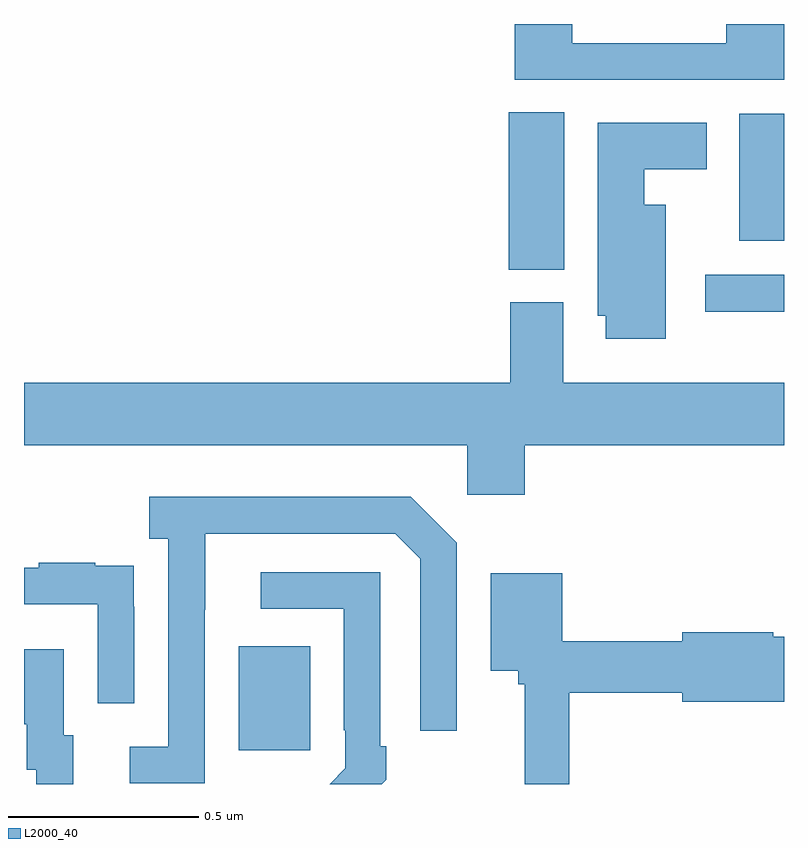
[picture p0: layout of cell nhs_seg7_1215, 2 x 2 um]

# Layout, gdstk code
import gdstk
lib = gdstk.Library(unit=1e-6, precision=1e-09)
def R(c, l, rs):  # rectangles x0, y0, x1, y1
    for r in rs: c.add(gdstk.rectangle(r[:2], r[2:], *l))
def P(c, l, *ps):  # polygons
    for p in ps: c.add(gdstk.Polygon(p, *l))
L2000_40 = (2000, 40)

nhs_seg7_1215 = lib.new_cell('nhs_seg7_1215')
R(nhs_seg7_1215, L2000_40, [(127.565,1057.089,127.753,1057.363), (128.793,1058.243,129,1058.34), (128.276,1058.353,128.422,1058.768), (128.882,1058.429,129,1058.764)])
P(nhs_seg7_1215, L2000_40, [(129,1059),(128.848,1059),(128.848,1058.949),(128.443,1058.949),(128.443,1059),(128.291,1059),(128.291,1058.853),(129,1058.853)],
  [(128.689,1058.524),(128.632,1058.524),(128.632,1058.618),(128.797,1058.618),(128.797,1058.74),(128.51,1058.74),(128.51,1058.232),(128.531,1058.232),(128.531,1058.172),(128.689,1058.172)],
  [(128.318,1057.892),(129,1057.892),(129,1058.056),(128.419,1058.056),(128.419,1058.268),(128.279,1058.268),(128.279,1058.056),(127,1058.056),(127,1057.892),(128.166,1057.892),(128.166,1057.761),(128.318,1057.761)],
  [(127.476,1057.459),(127.477,1057.459),(127.477,1057.659),(127.977,1057.659),(128.043,1057.593),(128.043,1057.14),(128.139,1057.14),(128.139,1057.635),(128.018,1057.756),(127.329,1057.756),(127.329,1057.646),(127.38,1057.646),(127.38,1057.098),(127.278,1057.098),(127.278,1057.002),(127.476,1057.002)],
  [(127.29,1057.466),(127.289,1057.466),(127.289,1057.575),(127.187,1057.575),(127.187,1057.582),(127.039,1057.582),(127.039,1057.569),(127,1057.569),(127,1057.473),(127.194,1057.473),(127.194,1057.212),(127.29,1057.212)],
  [(127.953,1057.011),(127.953,1057.099),(127.938,1057.099),(127.938,1057.557),(127.623,1057.557),(127.623,1057.461),(127.842,1057.461),(127.842,1057.141),(127.845,1057.141),(127.845,1057.041),(127.804,1057),(127.942,1057)],
  [(128.435,1057.24),(128.732,1057.24),(128.732,1057.217),(129,1057.217),(129,1057.387),(128.972,1057.387),(128.972,1057.4),(128.732,1057.4),(128.732,1057.376),(128.416,1057.376),(128.416,1057.555),(128.228,1057.555),(128.228,1057.298),(128.3,1057.298),(128.3,1057.263),(128.318,1057.263),(128.318,1057),(128.435,1057)],
  [(127.129,1057.128),(127.105,1057.128),(127.105,1057.354),(127,1057.354),(127,1057.157),(127.007,1057.157),(127.007,1057.038),(127.032,1057.038),(127.032,1057),(127.129,1057)])

lib.write_gds('nhs_seg7_1215.gds')
